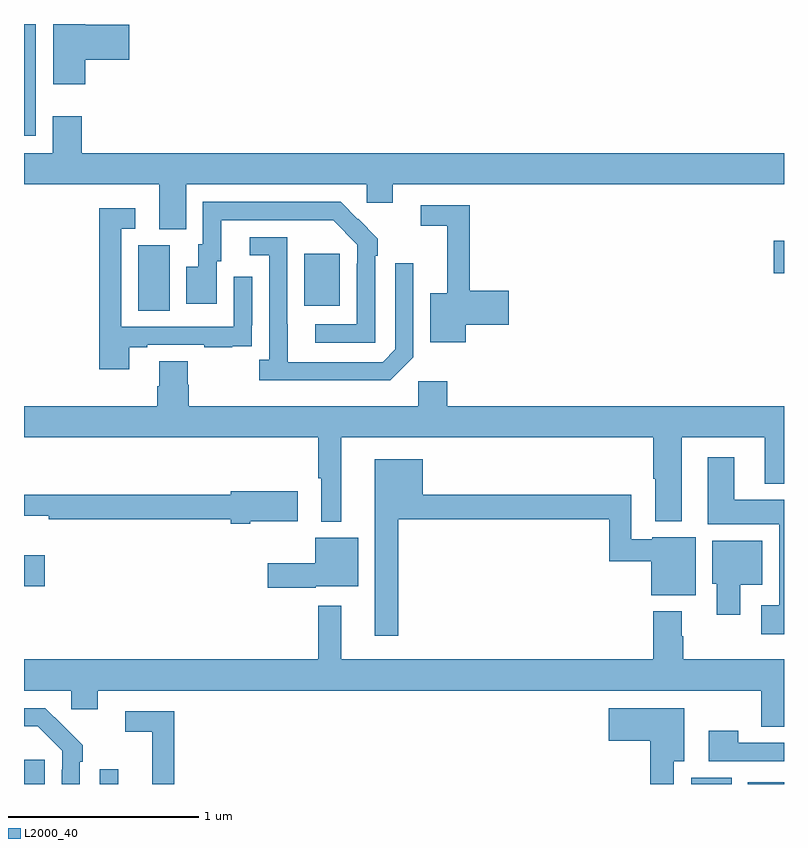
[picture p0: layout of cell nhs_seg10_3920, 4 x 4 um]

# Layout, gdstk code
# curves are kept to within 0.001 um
import gdstk
lib = gdstk.Library(unit=1e-6, precision=1e-09)
def R(c, l, rs):  # rectangles x0, y0, x1, y1
    for r in rs: c.add(gdstk.rectangle(r[:2], r[2:], *l))
def P(c, l, *ps):  # polygons
    for p in ps: c.add(gdstk.Polygon(p, *l))
L2000_40 = (2000, 40)

nhs_seg10_3920 = lib.new_cell('nhs_seg10_3920')
R(nhs_seg10_3920, L2000_40, [(327,1290.5,327.109,1290.628), (327.399,1290.5,327.495,1290.577), (330.512,1290.5,330.724,1290.532), (330.809,1290.5,331,1290.508), (327,1291.54,327.109,1291.705), (327.602,1292.992,327.766,1293.336), (328.475,1293.017,328.663,1293.292), (330.945,1293.188,331,1293.358), (327,1293.912,327.063,1294.5)])
P(nhs_seg10_3920, L2000_40, [(327.322,1294.313),(327.553,1294.313),(327.553,1294.496),(327.322,1294.496),(327.322,1294.5),(327.155,1294.5),(327.155,1294.182),(327.322,1294.182)],
  [(327.853,1293.656),(328.803,1293.656),(328.803,1293.558),(328.942,1293.558),(328.942,1293.656),(331,1293.656),(331,1293.82),(327.305,1293.82),(327.305,1294.015),(327.152,1294.015),(327.152,1293.82),(327,1293.82),(327,1293.656),(327.713,1293.656),(327.713,1293.421),(327.853,1293.421)],
  [(328.848,1293.281),(328.863,1293.281),(328.863,1293.369),(328.666,1293.564),(327.942,1293.564),(327.942,1293.342),(327.917,1293.342),(327.917,1293.223),(327.854,1293.223),(327.854,1293.027),(328.015,1293.027),(328.015,1293.252),(328.039,1293.252),(328.039,1293.468),(328.627,1293.468),(328.755,1293.339),(328.755,1293.239),(328.752,1293.239),(328.752,1292.919),(328.533,1292.919),(328.533,1292.823),(328.848,1292.823)],
  [(329.326,1292.917),(329.551,1292.917),(329.551,1293.095),(329.345,1293.095),(329.345,1293.546),(329.088,1293.546),(329.088,1293.438),(329.228,1293.438),(329.228,1293.082),(329.138,1293.082),(329.138,1292.825),(329.326,1292.825)],
  [(327.553,1292.799),(327.649,1292.799),(327.649,1292.811),(327.949,1292.811),(327.949,1292.799),(328.097,1292.799),(328.097,1292.805),(328.199,1292.805),(328.199,1292.914),(328.2,1292.914),(328.2,1293.169),(328.104,1293.169),(328.104,1292.907),(327.513,1292.907),(327.513,1293.423),(327.586,1293.423),(327.586,1293.529),(327.397,1293.529),(327.397,1292.682),(327.553,1292.682)],
  [(329.049,1292.745),(329.049,1293.241),(328.953,1293.241),(328.953,1292.787),(328.887,1292.721),(328.387,1292.721),(328.386,1293.378),(328.188,1293.378),(328.188,1293.282),(328.29,1293.282),(328.29,1292.734),(328.239,1292.734),(328.239,1292.624),(328.928,1292.624)],
  [(328.669,1292.324),(330.311,1292.324),(330.311,1292.107),(330.323,1292.107),(330.323,1291.883),(330.463,1291.883),(330.463,1292.324),(330.899,1292.324),(330.899,1292.081),(331,1292.081),(331,1292.488),(329.228,1292.488),(329.228,1292.62),(329.076,1292.62),(329.076,1292.488),(327.866,1292.488),(327.866,1292.601),(327.861,1292.601),(327.861,1292.726),(327.713,1292.726),(327.713,1292.594),(327.701,1292.594),(327.701,1292.488),(327,1292.488),(327,1292.324),(328.548,1292.324),(328.548,1292.108),(328.565,1292.108),(328.565,1291.88),(328.669,1291.88)],
  [(331,1291.996),(330.739,1291.996),(330.739,1292.221),(330.599,1292.221),(330.599,1291.868),(330.974,1291.868),(330.974,1291.441),(330.879,1291.441),(330.879,1291.289),(331,1291.289)],
  [(328.969,1291.894),(330.079,1291.894),(330.079,1291.672),(330.302,1291.672),(330.302,1291.493),(330.535,1291.493),(330.535,1291.798),(330.306,1291.798),(330.306,1291.788),(330.195,1291.788),(330.195,1292.023),(329.098,1292.023),(329.098,1292.209),(328.847,1292.209),(328.847,1291.281),(328.969,1291.281)],
  [(328.192,1291.883),(328.441,1291.883),(328.441,1292.041),(328.088,1292.041),(328.088,1292.023),(327,1292.023),(327,1291.913),(327.129,1291.913),(327.129,1291.894),(328.088,1291.894),(328.088,1291.871),(328.192,1291.871)],
  [(328.536,1291.541),(328.759,1291.541),(328.759,1291.795),(328.532,1291.795),(328.532,1291.663),(328.284,1291.663),(328.284,1291.534),(328.536,1291.534)],
  [(330.769,1291.55),(330.886,1291.55),(330.886,1291.78),(330.623,1291.78),(330.623,1291.554),(330.647,1291.554),(330.647,1291.392),(330.769,1291.392)],
  [(331,1291.156),(330.471,1291.156),(330.471,1291.277),(330.463,1291.277),(330.463,1291.408),(330.311,1291.408),(330.311,1291.156),(328.669,1291.156),(328.669,1291.438),(328.548,1291.438),(328.548,1291.156),(327,1291.156),(327,1290.992),(327.249,1290.992),(327.249,1290.894),(327.388,1290.894),(327.388,1290.992),(330.88,1290.992),(330.88,1290.802),(331,1290.802)],
  [(327.294,1290.617),(327.309,1290.617),(327.309,1290.705),(327.112,1290.9),(327,1290.9),(327,1290.804),(327.073,1290.804),(327.201,1290.675),(327.201,1290.575),(327.198,1290.575),(327.198,1290.5),(327.294,1290.5)],
  [(330.421,1290.62),(330.475,1290.62),(330.475,1290.898),(330.078,1290.898),(330.078,1290.728),(330.296,1290.728),(330.296,1290.5),(330.421,1290.5)],
  [(327.791,1290.882),(327.534,1290.882),(327.534,1290.774),(327.674,1290.774),(327.674,1290.5),(327.791,1290.5)],
  [(331,1290.717),(330.759,1290.717),(330.759,1290.781),(330.603,1290.781),(330.603,1290.621),(331,1290.621)])

lib.write_gds('nhs_seg10_3920.gds')
